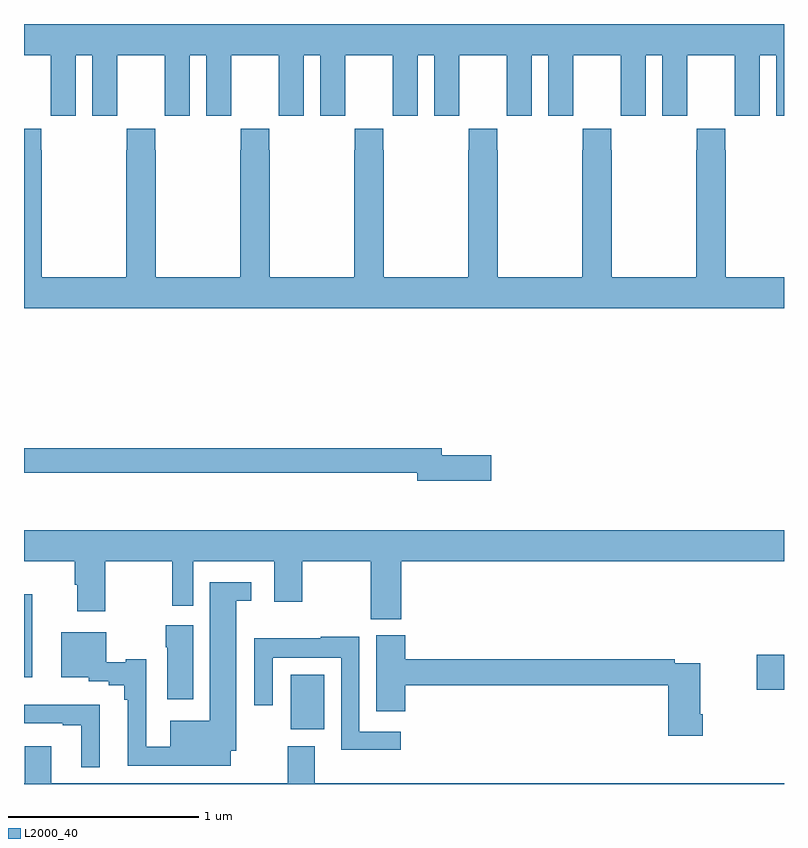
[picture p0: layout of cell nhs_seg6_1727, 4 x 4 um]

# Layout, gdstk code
import gdstk
lib = gdstk.Library(unit=1e-6, precision=1e-09)
def R(c, l, rs):  # rectangles x0, y0, x1, y1
    for r in rs: c.add(gdstk.rectangle(r[:2], r[2:], *l))
def P(c, l, *ps):  # polygons
    for p in ps: c.add(gdstk.Polygon(p, *l))
L2000_40 = (2000, 40)

nhs_seg6_1727 = lib.new_cell('nhs_seg6_1727')
R(nhs_seg6_1727, L2000_40, [(216.404,943.787,216.58,944.074), (218.856,943.997,219,944.18), (215,944.063,215.044,944.5)])
P(nhs_seg6_1727, L2000_40, [(215,947.336),(215.141,947.336),(215.141,947.128),(215.142,947.128),(215.142,947.016),(215.272,947.016),(215.272,947.336),(215.36,947.336),(215.36,947.016),(215.49,947.016),(215.49,947.128),(215.491,947.128),(215.491,947.336),(215.741,947.336),(215.741,947.128),(215.742,947.128),(215.742,947.016),(215.872,947.016),(215.872,947.336),(215.96,947.336),(215.96,947.016),(216.09,947.016),(216.09,947.128),(216.091,947.128),(216.091,947.336),(216.341,947.336),(216.341,947.128),(216.342,947.128),(216.342,947.016),(216.472,947.016),(216.472,947.336),(216.56,947.336),(216.56,947.016),(216.69,947.016),(216.69,947.128),(216.691,947.128),(216.691,947.336),(216.941,947.336),(216.941,947.128),(216.942,947.128),(216.942,947.016),(217.072,947.016),(217.072,947.336),(217.16,947.336),(217.16,947.016),(217.29,947.016),(217.29,947.128),(217.291,947.128),(217.291,947.336),(217.541,947.336),(217.541,947.128),(217.542,947.128),(217.542,947.016),(217.672,947.016),(217.672,947.336),(217.76,947.336),(217.76,947.016),(217.89,947.016),(217.89,947.128),(217.891,947.128),(217.891,947.336),(218.141,947.336),(218.141,947.128),(218.142,947.128),(218.142,947.016),(218.272,947.016),(218.272,947.336),(218.36,947.336),(218.36,947.016),(218.49,947.016),(218.49,947.128),(218.491,947.128),(218.491,947.336),(218.741,947.336),(218.741,947.128),(218.742,947.128),(218.742,947.016),(218.872,947.016),(218.872,947.336),(218.96,947.336),(218.96,947.016),(219,947.016),(219,947.5),(215,947.5)],
  [(219,946.168),(218.694,946.168),(218.694,946.835),(218.691,946.835),(218.691,946.948),(218.541,946.948),(218.541,946.835),(218.539,946.835),(218.539,946.168),(218.094,946.168),(218.094,946.835),(218.091,946.835),(218.091,946.948),(217.941,946.948),(217.941,946.835),(217.939,946.835),(217.939,946.168),(217.494,946.168),(217.494,946.835),(217.491,946.835),(217.491,946.948),(217.341,946.948),(217.341,946.835),(217.339,946.835),(217.339,946.168),(216.894,946.168),(216.894,946.835),(216.891,946.835),(216.891,946.948),(216.741,946.948),(216.741,946.835),(216.739,946.835),(216.739,946.168),(216.294,946.168),(216.294,946.835),(216.291,946.835),(216.291,946.948),(216.141,946.948),(216.141,946.835),(216.139,946.835),(216.139,946.168),(215.694,946.168),(215.694,946.835),(215.691,946.835),(215.691,946.948),(215.541,946.948),(215.541,946.835),(215.539,946.835),(215.539,946.168),(215.094,946.168),(215.094,946.835),(215.091,946.835),(215.091,946.948),(215,946.948),(215,946.004),(219,946.004)],
  [(217.459,945.23),(217.198,945.23),(217.198,945.266),(215,945.266),(215,945.138),(217.07,945.138),(217.07,945.095),(217.459,945.095)],
  [(216.986,944.672),(219,944.672),(219,944.836),(215,944.836),(215,944.672),(215.267,944.672),(215.267,944.549),(215.279,944.549),(215.279,944.409),(215.427,944.409),(215.427,944.672),(215.779,944.672),(215.779,944.439),(215.89,944.439),(215.89,944.672),(216.317,944.672),(216.317,944.46),(216.465,944.46),(216.465,944.672),(216.826,944.672),(216.826,944.368),(216.986,944.368)],
  [(216.088,943.676),(216.118,943.676),(216.118,944.465),(216.196,944.465),(216.196,944.562),(215.978,944.562),(215.978,943.834),(215.771,943.834),(215.771,943.695),(215.643,943.695),(215.643,944.156),(215.535,944.156),(215.535,944.141),(215.434,944.141),(215.434,944.299),(215.195,944.299),(215.195,944.063),(215.34,944.063),(215.34,944.04),(215.445,944.04),(215.445,944.02),(215.527,944.02),(215.527,943.943),(215.546,943.943),(215.546,943.596),(215.875,943.596),(215.875,943.595),(216.088,943.595)],
  [(215.89,944.335),(215.746,944.335),(215.746,944.219),(215.753,944.219),(215.753,943.947),(215.89,943.947)],
  [(218.573,943.867),(218.56,943.867),(218.56,944.136),(218.426,944.136),(218.426,944.156),(217.007,944.156),(217.007,944.283),(216.854,944.283),(216.854,943.884),(217.007,943.884),(217.007,944.02),(218.39,944.02),(218.39,943.755),(218.573,943.755)],
  [(216.982,943.776),(216.765,943.776),(216.765,944.276),(216.562,944.276),(216.562,944.266),(216.213,944.266),(216.213,943.914),(216.309,943.914),(216.309,944.165),(216.669,944.165),(216.669,943.679),(216.982,943.679)],
  [(215.398,943.918),(215,943.918),(215,943.821),(215.204,943.821),(215.204,943.809),(215.3,943.809),(215.3,943.589),(215.398,943.589)],
  [(219,943.504),(216.529,943.504),(216.529,943.699),(216.389,943.699),(216.389,943.504),(215.143,943.504),(215.143,943.699),(215.003,943.699),(215.003,943.504),(215,943.504),(215,943.5),(219,943.5)])

lib.write_gds('nhs_seg6_1727.gds')
